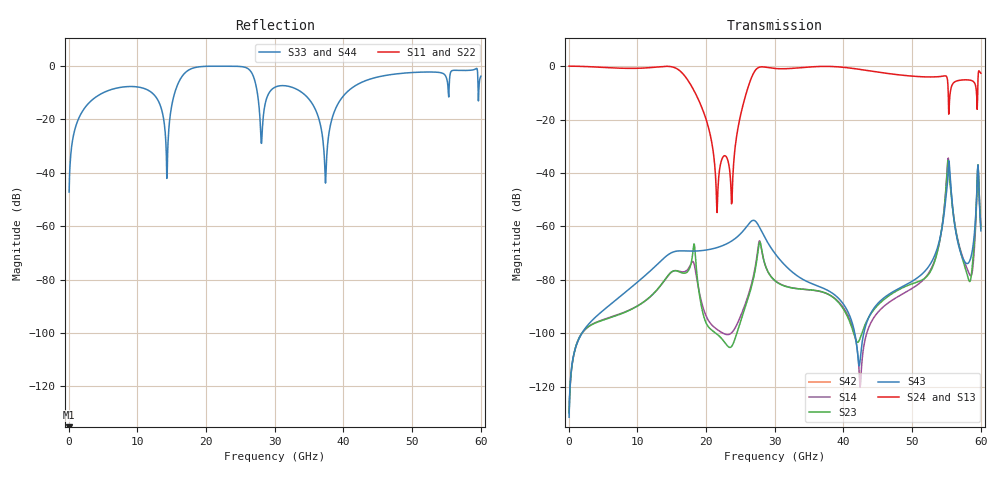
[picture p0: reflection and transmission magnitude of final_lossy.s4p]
! TOUCHSTONE file generated by CST MICROWAVE STUDIO
! Date and time: Fri Oct  3 14:34:14 2025
! Project name: quick_test.cst
! Parameters = {h=3.25; lambda=10; period=5; phi=0; theta=0; thickness=0.508; w_mesh_1=2.2; w_mesh_2=2.2; w_patch_1=2; w_patch_2=2}
! Header version: 2018
! Port assignment regex: !\s*Touchstone port\s*([0-9]+)\s*=\s*(CST MWS port|CST DS port)\s*([0-9]+|Zmin|Zmax)\s*\(\"(.*)\"\)(\s*mode\s*([0-9]+))?.*
! Touchstone port assignment:
! Touchstone port 1 = CST MWS port Zmin ("") mode 1
! Touchstone port 2 = CST MWS port Zmin ("") mode 2
! Touchstone port 3 = CST MWS port Zmax ("") mode 1
! Touchstone port 4 = CST MWS port Zmax ("") mode 2
! S-Parameters are not renormalized. Unphysical impedance of 50 will be written to the file.
# GHz S RI R 50
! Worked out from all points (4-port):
!   1003 points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, 60 MHz to 60 GHz, reference per port
!   strongest paths, dB at 60 MHz, 15 GHz, 30 GHz, 45 GHz, 60 GHz:
!     S24: 0.0, -0.2, -0.9, -2.2, -2.6
!     S13: 0.0, -0.2, -0.9, -2.2, -2.6
!     S43: -131.5, -69.8, -70.1, -88.9, -61.7
!     S23: -129.6, -77.0, -80.3, -89.5, -60.8
!     S14: -130.0, -77.1, -80.2, -92.2, -59.6
!     S42: -, -, -, -, -
!   lowest |S11| = - dB at 60 MHz (marker M1), VSWR 1.00
!   |S11| at or under -10 dB: start of sweep to end of sweep
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0.06  0 0  0 0  1 -0.00443  9.32e-08 3.01e-07
      0 0  0 0  1.11e-07 3.1e-07  1 -0.00443
      0 0  0 0  -1.25e-05 -0.00436  -6.64e-08 2.78e-07
      0 0  0 0  -5.11e-08 2.62e-07  -1.12e-05 -0.00436
3.3  0 0  0 0  0.9466 -0.2285  6.63e-06 1.28e-05
     0 0  0 0  6.52e-06 1.28e-05  0.9466 -0.2286
     0 0  0 0  -0.0532 -0.2185  1.24e-05 1.13e-05
     0 0  0 0  1.25e-05 1.13e-05  -0.0532 -0.2186
14.28  0 0  0 0  0.3136 -0.9425  0.000107 3.05e-05
       0 0  0 0  0.000106 3.67e-05  0.3111 -0.9433
       0 0  0 0  -0.00377 -0.00689  1.84e-05 -0.000282
       0 0  0 0  1.87e-05 -0.000282  -0.00156 -0.00832
16.14  0 0  0 0  -0.2472 -0.792  0.000106 -9.72e-05
       0 0  0 0  0.000109 -8.81e-05  -0.2508 -0.7884
       0 0  0 0  0.5078 -0.1712  -0.000198 -0.000287
       0 0  0 0  -0.000198 -0.000287  0.5091 -0.1784
21.66  0 0  0 0  0.00182 -0.00157  -9e-06 -7.33e-06
       0 0  0 0  -5.16e-06 -7.93e-06  0.00275 -0.00148
       0 0  0 0  0.0689 -0.9894  -0.000402 -3.01e-05
       0 0  0 0  -0.000402 -2.98e-05  0.0601 -0.99
27.72  0 0  0 0  0.304 0.9014  0.000376 0.000366
       0 0  0 0  0.000317 0.000349  0.3217 0.8984
       0 0  0 0  -0.1661 0.0129  0.000523 0.000838
       0 0  0 0  0.000525 0.000841  -0.1492 0.0232
60  0 0  0 0  0.582 -0.4555  0.001 0.000314
    0 0  0 0  0.000783 0.000475  0.5837 -0.4543
    0 0  0 0  0.4134 0.4928  -0.000728 -0.000393
    0 0  0 0  -0.000727 -0.000393  0.4146 0.4907
